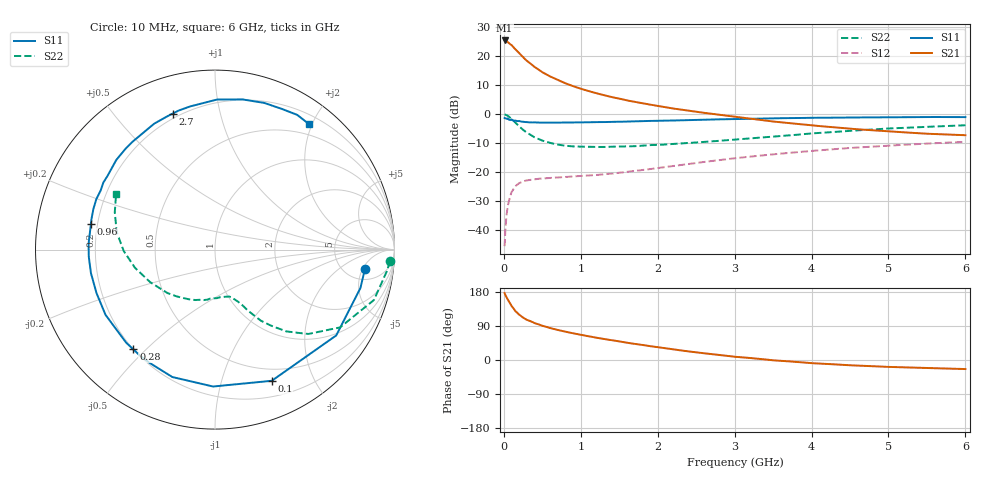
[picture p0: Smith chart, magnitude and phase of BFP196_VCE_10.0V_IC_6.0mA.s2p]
! Infineon Technologies  Discrete & RF Semiconductors
! BFP196
! VCE = 10.0V,  IC = 6.0mA
! Common Emitter S-Parameters:  Jan 2016
# GHz  S  MA  R  50
!  f  S11  S21  S12  S22
! GHz  MAG  ANG  MAG  ANG  MAG  ANG  MAG  ANG
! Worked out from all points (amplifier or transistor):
!   210 points, 10 MHz to 6 GHz, reference 50 ohm
!   highest |S21| = 25.3 dB at 10 MHz (marker M1)
!   |S21| within 3 dB of that: start of sweep to 148.5 MHz
!   unconditionally stable (mu >= 1): 1.116 GHz to 3.388 GHz
!   at 185 MHz: K = 0.21, MSG = 22.7 dB, |S12| = -24.3 dB
!   at 1.52 GHz: K = 1.17, MAG = 10.2 dB, |S12| = -20.3 dB
!   at 6 GHz: K = 0.98, MSG = 1.1 dB, |S12| = -9.7 dB
!   S11 on the Smith chart (normalised r, x): 10 MHz: 7.39, -5.59; 100 MHz: 0.37, -1.46; 280 MHz: 0.20, -0.46; 960 MHz: 0.17, +0.10; 2.7 GHz: 0.18, +0.72; 6 GHz: 0.33, +1.96
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0.01  0.8421 -7.5  18.34 176.7  0.0052 85.3  0.977 -3.8
0.02  0.838 -14.8  18.07 171.3  0.01 83.4  0.9649 -7.2
0.05  0.8276 -35.3  17.28 159.8  0.0252 71.6  0.9289 -17.6
0.1  0.7964 -66.6  15.29 142.7  0.0443 57.7  0.8205 -31.9
0.15  0.7629 -90.8  12.93 128.9  0.0564 46.9  0.701 -42.1
0.2  0.7487 -108.5  11.01 119.4  0.0636 39.8  0.6051 -48.9
0.24  0.7288 -120.0  9.678 113.4  0.0672 35.6  0.5419 -52.6
0.28  0.7184 -129.3  8.628 108.4  0.0698 32.9  0.4928 -55.7
0.3  0.7168 -133.7  8.156 105.8  0.071 31.8  0.4707 -57.2
0.4  0.7101 -149.2  6.399 97.3  0.0743 27.8  0.3905 -61.4
0.5  0.7032 -159.8  5.198 90.3  0.0766 25.7  0.3441 -63.9
0.6  0.7035 -169.2  4.401 84.4  0.078 25.1  0.3137 -66.5
0.7  0.7043 -176.8  3.82 79.1  0.0794 25.4  0.2941 -69.0
0.96  0.7056 168.5  2.806 68.2  0.0836 27.1  0.2713 -74.6
1.02  0.7095 165.4  2.647 65.8  0.0845 27.6  0.2701 -76.0
1.4  0.7256 149.0  1.938 52.3  0.0927 32.2  0.2703 -86.7
2.02  0.7564 127.5  1.346 33.3  0.1166 38.2  0.2903 -105.8
2.7  0.7936 107.3  0.996 15.6  0.1527 38.8  0.3333 -127.9
3.1  0.8125 97.7  0.853 7.0  0.1762 36.5  0.3655 -141.0
4.1  0.8516 78.0  0.613 -9.3  0.2337 27.4  0.4659 -169.8
5.1  0.8691 63.5  0.487 -18.8  0.2865 15.8  0.5627 167.7
6  0.8737 53.0  0.426 -23.9  0.3274 4.5  0.6329 150.5
